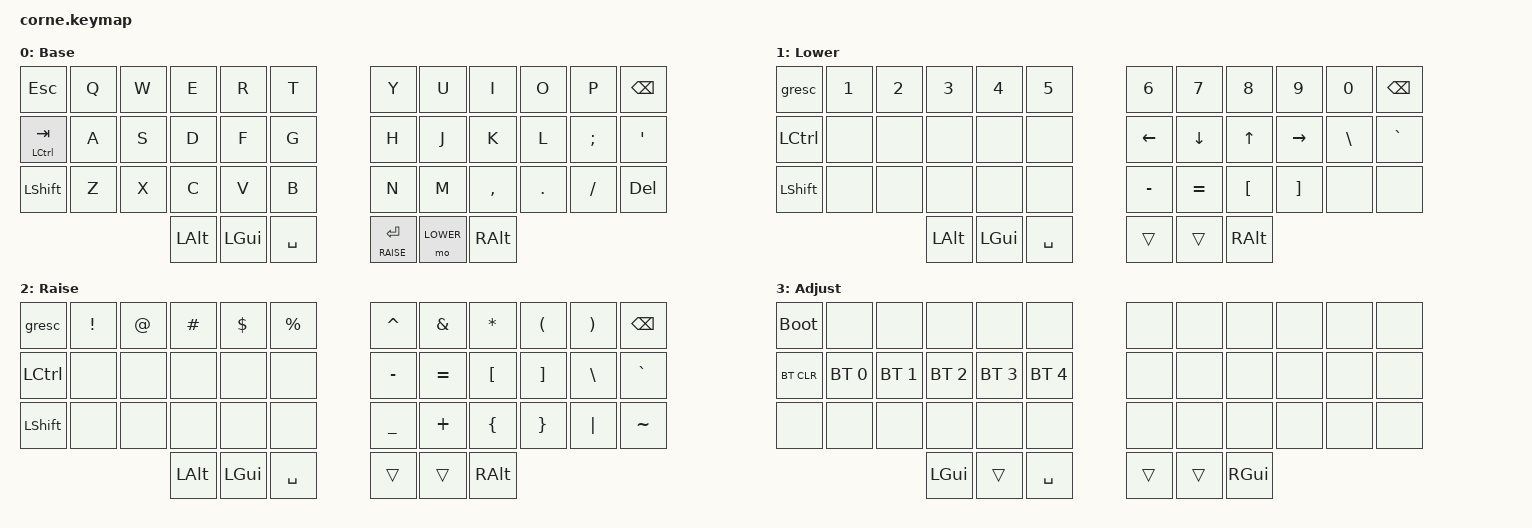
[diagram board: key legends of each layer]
/*
 * Corne translation of keyboard.vil.
 *
 * The source layout has four inner-column keys that the 42-key Corne does not.
 * Tab shares Left Control (tap/hold), Raise shares Enter (tap/hold), and Lower
 * remains on the right middle thumb. Holding Lower and Raise activates Adjust.
 */

#include <behaviors.dtsi>
#include <dt-bindings/zmk/bt.h>
#include <dt-bindings/zmk/keys.h>

#define BASE 0
#define LOWER 1
#define RAISE 2
#define ADJUST 3

/ {
    conditional_layers {
        compatible = "zmk,conditional-layers";

        lower_raise_adjust {
            if-layers = <LOWER RAISE>;
            then-layer = <ADJUST>;
        };
    };

    keymap {
        compatible = "zmk,keymap";

        base_layer {
            display-name = "Base";
// -------------------------------------------------------------------------------------------------
// | ESC  |  Q   |  W   |  E   |  R   |  T   |   |  Y   |  U   |  I   |  O   |  P   | BSPC |
// | CTL/T|  A   |  S   |  D   |  F   |  G   |   |  H   |  J   |  K   |  L   |  ;   |  '   |
// | SHFT |  Z   |  X   |  C   |  V   |  B   |   |  N   |  M   |  ,   |  .   |  /   | DEL  |
//                    | ALT | GUI | SPACE |   | ENT/RSE | LWR | ALT |
            bindings = <
                &kp ESC        &kp Q &kp W &kp E &kp R &kp T    &kp Y &kp U &kp I &kp O &kp P &kp BSPC
                &mt LCTRL TAB  &kp A &kp S &kp D &kp F &kp G    &kp H &kp J &kp K &kp L &kp SEMI &kp SQT
                &kp LSHFT      &kp Z &kp X &kp C &kp V &kp B    &kp N &kp M &kp COMMA &kp DOT &kp FSLH &kp DEL
                                  &kp LALT &kp LGUI &kp SPACE    &lt RAISE RET &mo LOWER &kp RALT
            >;
        };

        lower_layer {
            display-name = "Lower";
// -------------------------------------------------------------------------------------------------
// | GESC |  1   |  2   |  3   |  4   |  5   |   |  6   |  7   |  8   |  9   |  0   | BSPC |
// | CTRL |      |      |      |      |      |   | LEFT | DOWN |  UP  | RGHT |  \\   |  `   |
// | SHFT |      |      |      |      |      |   |  -   |  =   |  [   |  ]   |      |      |
//                    | ALT | GUI | SPACE |   |  RSE  | LWR | ALT |
            bindings = <
                &gresc     &kp N1 &kp N2 &kp N3 &kp N4 &kp N5    &kp N6 &kp N7 &kp N8 &kp N9 &kp N0 &kp BSPC
                &kp LCTRL  &none  &none  &none  &none  &none     &kp LEFT &kp DOWN &kp UP &kp RIGHT &kp BSLH &kp GRAVE
                &kp LSHFT  &none  &none  &none  &none  &none     &kp MINUS &kp EQUAL &kp LBKT &kp RBKT &none &none
                              &kp LALT &kp LGUI &kp SPACE         &trans &trans &kp RALT
            >;
        };

        raise_layer {
            display-name = "Raise";
// -------------------------------------------------------------------------------------------------
// | GESC |  !   |  @   |  #   |  $   |  %   |   |  ^   |  &   |  *   |  (   |  )   | BSPC |
// | CTRL |      |      |      |      |      |   |  -   |  =   |  [   |  ]   |  \\   |  `   |
// | SHFT |      |      |      |      |      |   |  _   |  +   |  {   |  }   |  |   |  ~   |
//                    | ALT | GUI | SPACE |   |  RSE  | LWR | ALT |
            bindings = <
                &gresc     &kp EXCL &kp AT &kp HASH &kp DLLR &kp PRCNT    &kp CARET &kp AMPS &kp ASTRK &kp LPAR &kp RPAR &kp BSPC
                &kp LCTRL  &none    &none  &none    &none    &none        &kp MINUS &kp EQUAL &kp LBKT &kp RBKT &kp BSLH &kp GRAVE
                &kp LSHFT  &none    &none  &none    &none    &none        &kp UNDER &kp PLUS &kp LBRC &kp RBRC &kp PIPE &kp TILDE
                                      &kp LALT &kp LGUI &kp SPACE         &trans &trans &kp RALT
            >;
        };

        adjust_layer {
            display-name = "Adjust";
// -------------------------------------------------------------------------------------------------
// | BOOT |      |      |      |      |      |   |      |      |      |      |      |      |
// | BTCLR| BT 0 | BT 1 | BT 2 | BT 3 | BT 4 |   |      |      |      |      |      |      |
// |      |      |      |      |      |      |   |      |      |      |      |      |      |
//                    | GUI |     | SPACE |   | ENT |     | GUI |
            bindings = <
                &bootloader  &none        &none        &none        &none        &none           &none &none &none &none &none &none
                &bt BT_CLR   &bt BT_SEL 0 &bt BT_SEL 1 &bt BT_SEL 2 &bt BT_SEL 3 &bt BT_SEL 4    &none &none &none &none &none &none
                &none        &none        &none        &none        &none        &none           &none &none &none &none &none &none
                                           &kp LGUI &trans &kp SPACE              &trans &trans &kp RGUI
            >;
        };
    };
};
